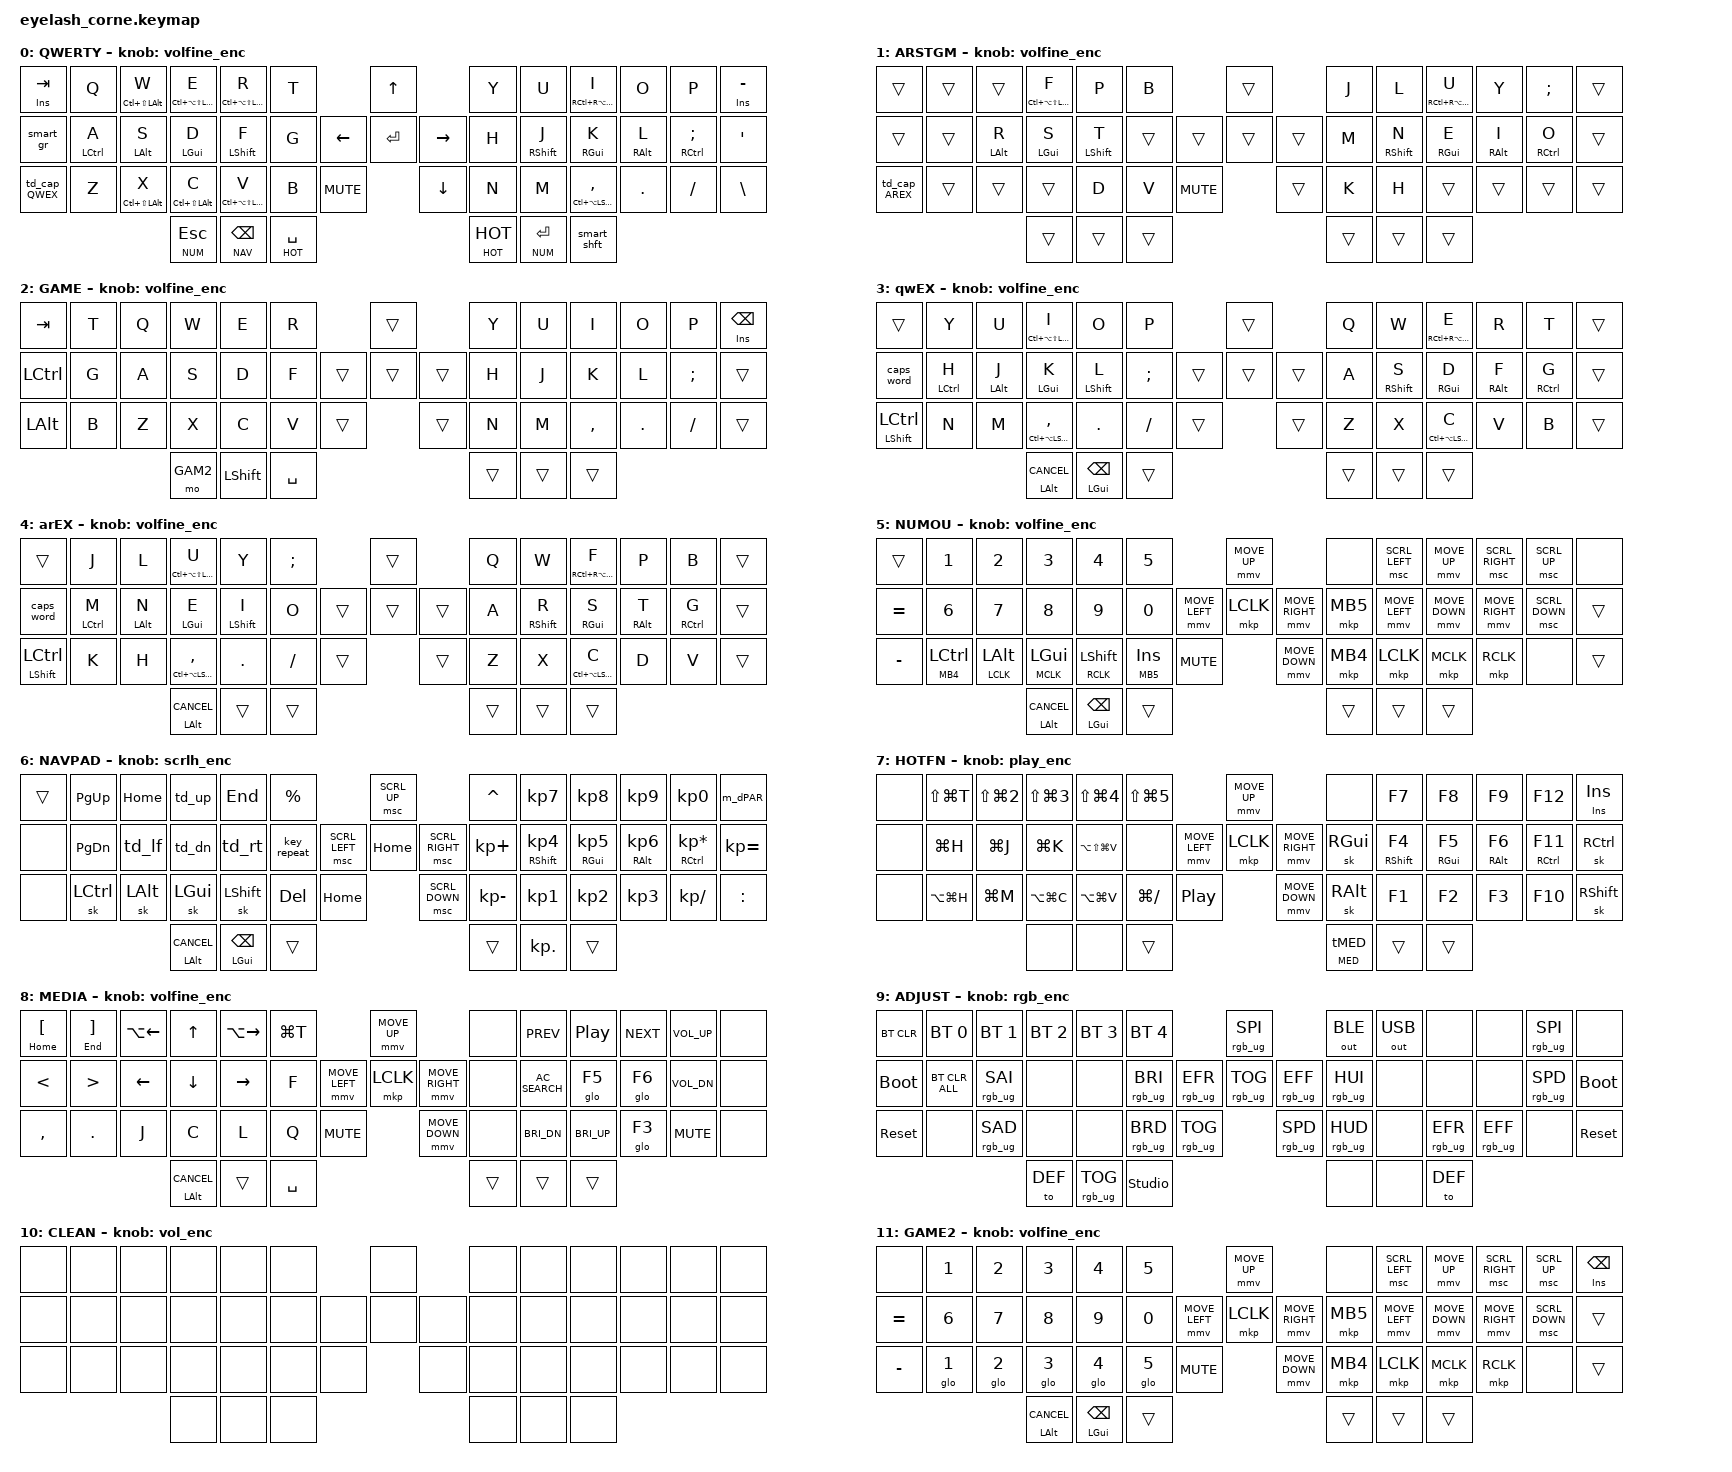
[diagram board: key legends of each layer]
#define ZMK_POINTING_DEFAULT_MOVE_VAL 1200  // 600
#define ZMK_POINTING_DEFAULT_SCRL_VAL 25   // 10

#include <input/processors.dtsi>
#include <zephyr/dt-bindings/input/input-event-codes.h>
#include <behaviors.dtsi>
#include <dt-bindings/zmk/bt.h>
#include <dt-bindings/zmk/keys.h>
#include <dt-bindings/zmk/outputs.h>
#include <dt-bindings/zmk/pointing.h>
#include <dt-bindings/zmk/rgb.h>
#include <behaviors/num_word.dtsi>  // add Urob's Behaviors, Requires auto-layer module.
#include <dt-bindings/zmk/mouse.h>

// Define key positon ────────────────────────────────────────────────────
    /*                KEY POSITIONS
    ╭────────────────────────────┬────────────────────────────────────╮ ╭──────────────────────────────┬──────────────────────────────────────╮
    │  0   1   2   3   4   5     │      6       7   8   9  10  11  12 │ │ LT5 LT4 LT3 LT2 LT1 LT0      │     RJU      RT0 RT1 RT2 RT3 RT4 RT5 │
    │ 13  14  15  16  17  18     │ 19  20  21  22  23  24  25  26  27 │ │ LM5 LM4 LM3 LM2 LM1 LM0      │ RJL RJC RJR  RM0 RM1 RM2 RM3 RM4 RM5 │
    │ 28  29  30  31  32  33  34 │     35      36  37  38  39  40  41 │ │ LB5 LB4 LB3 LB2 LB1 LB0  LEC │     RJD      RB0 RB1 RB2 RB3 RB4 RB5 │
    ╰───────────╮ 42  43  44     │             45  46  47 ╭───────────╯ ╰───────────╮ LH2 LH1 LH0      │              RH0 RH1 RH2 ╭───────────╯
                ╰────────────────┴────────────────────────╯                         ╰──────────────────┴──────────────────────────╯             */

    #define LT0  5  // left-top row
    #define LT1  4
    #define LT2  3
    #define LT3  2
    #define LT4  1
    #define LT5  0

    #define RT0  7  // right-top row
    #define RT1  8
    #define RT2  9
    #define RT3 10
    #define RT4 11
    #define RT5 12

    #define LM0 18  // left-middle row
    #define LM1 17
    #define LM2 16
    #define LM3 15
    #define LM4 14
    #define LM5 13

    #define RM0 22  // right-middle row
    #define RM1 23
    #define RM2 24
    #define RM3 25
    #define RM4 26
    #define RM5 27

    #define LB0 33  // left-bottom row
    #define LB1 32
    #define LB2 31
    #define LB3 30
    #define LB4 29
    #define LB5 28

    #define RB0 36  // right-bottom row
    #define RB1 37
    #define RB2 38
    #define RB3 39
    #define RB4 40
    #define RB5 41

    #define LH0 44  // left thumb keys
    #define LH1 43
    #define LH2 42

    #define RH0 45  // right thumb keys
    #define RH1 46
    #define RH2 47

    #define LEC 34  // left encoder press

    #define RJU  6  // right joystick
    #define RJL 19
    #define RJC 20
    #define RJR 21
    #define RJD 35

    #define KEYS_L LT0 LT1 LT2 LT3 LT4 LM0 LM1 LM2 LM3 LM4 LB0 LB1 LB2 LB3 LB4  // 3x5 left hand
    #define KEYS_R RT0 RT1 RT2 RT3 RT4 RM0 RM1 RM2 RM3 RM4 RB0 RB1 RB2 RB3 RB4  // 3x5 right hand
    #define SIDE_L LT5 LM5 LB5                                                  // 3x6 left side
    #define SIDE_R RT5 RM5 RB5                                                  // 3x6 right side
    #define THUMBS LH2 LH1 LH0 RH0 RH1 RH2                                      // thumbs
    #define STICK_R RJU RJL RJC RJR RJD                                         // right joystick

// Global settings ───────────────────────────────────────────────────────
    // Define layer numbers
    #define DEF 0
    #define COL 1
    #define GAM 2
    #define QWEX 3
    #define AREX 4
    #define NUM 5
    #define NAV 6
    #define HOT 7
    #define MED 8
    #define ADJ 9
    #define CLE 10
    #define GAM2 11

    // Define timing
    #define QUICK_TAP_MS 175

    #define COMBO_TERM_FAST 18
    #define COMBO_TERM_SLOW 30

    #define COMBO_IDLE_FAST 150
    #define COMBO_IDLE_SLOW 50

    // Mouse Tweaking ────────────────────────────────────────────────────
    &mmv_input_listener { input-processors = <&zip_xy_scaler 2 1>; };

    &msc_input_listener { input-processors = <&zip_scroll_scaler 2 1>; };

    &msc {
        acceleration-exponent = <1>;        // default 0, eyelash 1, urob 0
        time-to-max-speed-ms = <100>;       // default 300, eyelash 100, urob 300
        delay-ms = <0>;                     // default 0
    };

    &mmv {
        time-to-max-speed-ms = <500>;       // default 300, eyelash 500, urob 300
        acceleration-exponent = <1>;        // default 1
        trigger-period-ms = <16>;           // default 16
    };

    // Soft Off Setting ──────────────────────────────────────────────────
    &soft_off { hold-time-ms = <2000>; };

    &sl {  // sticky-layer config
        ignore-modifiers;                   // allow chording sticky mods & layers
    };

/ {
    behaviors {
// Smart, Auto-Layer; Tri-State ──────────────────────────────────────────
    // smart layer, smart word
        smart_shft: smart_shift {
            compatible = "zmk,behavior-mod-morph";
            #binding-cells = <0>;
            bindings = <&sk LSHFT>, <&caps_word>;
            mods = <(MOD_LSFT)>;
        };

        aNAV: auto_layer_NAVPAD {
            compatible = "zmk,behavior-auto-layer";
            #binding-cells = <1>;
            continue-list = <UP DOWN LEFT RIGHT PLUS MINUS STAR FSLH SPACE BSPC DEL DOT KP_DOT COMMA EQUAL CARET PRCNT TAB>;
            // ignore-alphas;
            ignore-numbers;
            ignore-modifiers;
        };

        aNUM: auto_layer_NUMBER {
            compatible = "zmk,behavior-auto-layer";
            #binding-cells = <1>;
            continue-list = <PLUS MINUS EQUAL TAB INS>;
            // ignore-alphas;
            ignore-numbers;
            ignore-modifiers;
        };

        tMED: tri_state_MEDIA {
            compatible = "zmk,behavior-tri-state";
            #binding-cells = <0>;
            bindings = <&tog MED>, <&none>, <&tog MED>;
            ignored-key-positions = <SIDE_L KEYS_L KEYS_R LH0 LH1>;
            ignored-layers = <MED>;
        };

        mo_tMED: mo_triMEDIA {                   // hold to momentary layer, tap to tri-state MEDIA
            compatible = "zmk,behavior-hold-tap";
            #binding-cells = <2>;
            bindings = <&mo>, <&tMED>;
            flavor = "balanced";
            tapping-term-ms = <220>;
            // quick-tap-ms = <200>;
        };

        // fn_bs_f3: fn_backspace_f3 {              // hold to FN, tap to backspace, shift to F3
        //     compatible = "zmk,behavior-mod-morph";
        //     #binding-cells = <0>;
        //     bindings = <&mt INS BSPC>, <&kp F3>;
        //     mods = <(MOD_LSFT|MOD_RSFT)>;
        //     // keep-mods = <(MOD_LSFT|MOD_RSFT)>;
        // };

        swap_tab: cmd_tab_swapper {
            compatible = "zmk,behavior-tri-state";
            #binding-cells = <0>;
            bindings = <&kt LGUI>, <&kp TAB>, <&kt LGUI>;
            ignored-key-positions = <LT1 LT2 LT3 LT5 LM5 LM0>;
            ignored-layers = <DEF COL NAV>;
        };

        // swap_gr: cmd_grave_swapper {
        //     compatible = "zmk,behavior-tri-state";
        //     #binding-cells = <0>;
        //     bindings = <&kt LGUI>, <&kp GRAVE>, <&kt LGUI>;
        //     ignored-key-positions = <LT5 LM5 LT2 LT3 LM2 LM3>;
        // };

        smart_gr: smart_grave {
            compatible = "zmk,behavior-mod-morph";
            #binding-cells = <0>;
            bindings = <&mt LC(LA(LS(LGUI))) CAPS>, <&kp GRAVE>;
            mods = <(MOD_LGUI|MOD_LSFT|MOD_RGUI|MOD_RSFT)>;
            keep-mods = <(MOD_LGUI|MOD_LSFT|MOD_RGUI|MOD_RSFT)>;
        };

        aQWEX: auto_layer_qwertyEX {
            compatible = "zmk,behavior-auto-layer";
            #binding-cells = <1>;
            continue-list = <INS TAB SPACE BSPC DOT COMMA FSLH SEMI>;
            ignore-alphas;
            // ignore-numbers;
            ignore-modifiers;
        };

    // SMART-GRAVE for QWERTY setting 1: hold to qwertyEX, tap to sticky-qwertyEX, double-tap to auto-qwertyEX, command/shift morph into grave
        // smart_gr_QWEX: smart_grave_QWEX {
        //     compatible = "zmk,behavior-mod-morph";
        //     #binding-cells = <0>;
        //     bindings = <&td_QWEX>, <&kp GRAVE>;
        //     mods = <(MOD_LGUI|MOD_LSFT|MOD_RGUI|MOD_RSFT)>;
        //     keep-mods = <(MOD_LGUI|MOD_LSFT|MOD_RGUI|MOD_RSFT)>;
        // };

        aAREX: auto_layer_colemakEX {
            compatible = "zmk,behavior-auto-layer";
            #binding-cells = <1>;
            continue-list = <INS TAB SPACE BSPC DOT COMMA FSLH SEMI>;
            ignore-alphas;
            // ignore-numbers;
            ignore-modifiers;
        };

    // SMART-GRAVE for ARSTGM setting 1: hold to arstgmEX, tap to sticky-arstgmEX, double-tap to auto-arstgmEX, command/shift morph into grave
        // smart_gr_AREX: smart_grave_AREX {
        //     compatible = "zmk,behavior-mod-morph";
        //     #binding-cells = <0>;
        //     bindings = <&td_AREX>, <&kp GRAVE>;
        //     mods = <(MOD_LGUI|MOD_LSFT|MOD_RGUI|MOD_RSFT)>;
        //     keep-mods = <(MOD_LGUI|MOD_LSFT|MOD_RGUI|MOD_RSFT)>;
        // };
// Sticky ────────────────────────────────────────────────────────────────
        sls: sticky-layer_slow {                    // new sticky-layer config, delay duration, no quick-release, ignore-modifiers
            compatible = "zmk,behavior-sticky-key";
            #binding-cells = <1>;
            bindings = <&mo>;
            release-after-ms = <1500>;              // default 1000
            /delete-property/ quick-release;        // no quick-release
            ignore-modifiers;                       // allow chording sticky mods & layers
        };

        mosls: layer_sticky-layer_slow {             //  hold to momentary layer, tap to sticky-layer slow
            compatible = "zmk,behavior-hold-tap";
            #binding-cells = <2>;
            bindings = <&mo>, <&sls>;
            flavor = "balanced";
            tapping-term-ms = <220>;
        };

        kpsls: keypress_sticky-layer_slow {             //  hold to key, tap to sticky-layer slow
            compatible = "zmk,behavior-hold-tap";
            #binding-cells = <2>;
            bindings = <&kp>, <&sls>;
            flavor = "balanced";
            tapping-term-ms = <220>;
        };

        kpsk: keypress_sticky-key {
            compatible = "zmk,behavior-hold-tap";
            #binding-cells = <2>;
            bindings = <&kp>, <&sk>;
            flavor = "balanced";
            tapping-term-ms = <220>;
        };

        mkpsk: mouse-key_sticky-key {                   // hold to mouse key, tap to sticky-key, double-tap and holding to repeat key
            compatible = "zmk,behavior-hold-tap";
            #binding-cells = <2>;
            bindings = <&mkp>, <&sk>;
            flavor = "balanced";
            tapping-term-ms = <220>;
            quick-tap-ms = <220>;
        };
// Hold-tap ──────────────────────────────────────────────────────────────
        ltb: layertap_balance {                 // layer-tap config, change flavor to balanced
            compatible = "zmk,behavior-hold-tap";
            #binding-cells = <2>;
            bindings = <&mo>, <&kp>;
            flavor = "balanced";
            tapping-term-ms = <200>;
        };

        ltq: layertap_quick {                   // layer-tap config, hold to layer, double-tap and holding to repeat key
            compatible = "zmk,behavior-hold-tap";
            #binding-cells = <2>;
            bindings = <&mo>, <&kp>;
            flavor = "balanced";
            tapping-term-ms = <220>;
            quick-tap-ms = <220>;
        };
// Timeless Homerow-Mods ─────────────────────────────────────────────────
        hml: homerow_mod_left {
            compatible = "zmk,behavior-hold-tap";
            #binding-cells = <2>;
            bindings = <&kp>, <&kp>;
            flavor = "balanced";
            tapping-term-ms = <280>;
            quick-tap-ms = <QUICK_TAP_MS>;              // repeat on tap-into-hold
            require-prior-idle-ms = <150>;
            hold-trigger-key-positions = <SIDE_R KEYS_R THUMBS LT5 LM5>;
            hold-trigger-on-release;                    // delay positional check until key-release
        };

        hmlq: homerow_mode_left_quick {
            compatible = "zmk,behavior-hold-tap";
            #binding-cells = <2>;
            bindings = <&kp>, <&kp>;
            flavor = "balanced";
            tapping-term-ms = <200>;
            quick-tap-ms = <QUICK_TAP_MS>;
            require-prior-idle-ms = <150>;
            hold-trigger-key-positions = <SIDE_R KEYS_R THUMBS>;
            // hold-trigger-on-release;
        };

        hmls: homerow_mod_left_sticky {
            compatible = "zmk,behavior-hold-tap";
            #binding-cells = <2>;
            bindings = <&kp>, <&sk>;
            flavor = "balanced";
            tapping-term-ms = <280>;
            quick-tap-ms = <QUICK_TAP_MS>;
            require-prior-idle-ms = <150>;
            hold-trigger-key-positions = <SIDE_R KEYS_R THUMBS LT5 LM5>;
            hold-trigger-on-release;
        };

        hmr: homerow_mod_right {
            compatible = "zmk,behavior-hold-tap";
            #binding-cells = <2>;
            bindings = <&kp>, <&kp>;
            flavor = "balanced";
            tapping-term-ms = <280>;
            quick-tap-ms = <QUICK_TAP_MS>;
            require-prior-idle-ms = <150>;
            hold-trigger-key-positions = <SIDE_L KEYS_L THUMBS>;
            hold-trigger-on-release;
        };

        hmrq: homerow_mode_right_quick {
            compatible = "zmk,behavior-hold-tap";
            #binding-cells = <2>;
            bindings = <&kp>, <&kp>;
            flavor = "balanced";
            tapping-term-ms = <200>;
            quick-tap-ms = <QUICK_TAP_MS>;
            require-prior-idle-ms = <150>;
            hold-trigger-key-positions = <SIDE_L KEYS_L THUMBS>;
            // hold-trigger-on-release;
        };

        hml_aNAV: hml_auto-NAV {
            compatible = "zmk,behavior-hold-tap";
            #binding-cells = <2>;
            bindings = <&kp>, <&aNAV>;
            flavor = "balanced";
            tapping-term-ms = <280>;
            quick-tap-ms = <QUICK_TAP_MS>;
            require-prior-idle-ms = <150>;
            hold-trigger-key-positions = <SIDE_R KEYS_R THUMBS>;
            hold-trigger-on-release;
        };

        // hml_aQWEX: hml_auto-QWEX {
        //     compatible = "zmk,behavior-hold-tap";
        //     #binding-cells = <2>;
        //     bindings = <&kp>, <&aQWEX>;
        //     flavor = "balanced";
        //     tapping-term-ms = <280>;
        //     quick-tap-ms = <QUICK_TAP_MS>;
        //     require-prior-idle-ms = <150>;
        //     hold-trigger-key-positions = <SIDE_R KEYS_R THUMBS>;
        //     hold-trigger-on-release;
        // };

        // hml_aAREX: hml_auto-AREX {
        //     compatible = "zmk,behavior-hold-tap";
        //     #binding-cells = <2>;
        //     bindings = <&kp>, <&aAREX>;
        //     flavor = "balanced";
        //     tapping-term-ms = <280>;
        //     quick-tap-ms = <QUICK_TAP_MS>;
        //     require-prior-idle-ms = <150>;
        //     hold-trigger-key-positions = <SIDE_R KEYS_R THUMBS>;
        //     hold-trigger-on-release;
        // };
// Tap Dance ─────────────────────────────────────────────────────────────
    // arrows, arrows with modifier
        td_up: tapdance_up {
            compatible = "zmk,behavior-tap-dance";
            #binding-cells = <0>;
            bindings = <&kp UP>, <&mt LG(UP) LA(UP)>;
            tapping-term-ms = <250>;
        };

        td_lf: tapdance_left {
            compatible = "zmk,behavior-tap-dance";
            #binding-cells = <0>;
            bindings = <&kp LEFT>, <&mt LG(LEFT) LA(LEFT)>;
            tapping-term-ms = <250>;
        };

        td_dn: tapdance_down {
            compatible = "zmk,behavior-tap-dance";
            #binding-cells = <0>;
            bindings = <&kp DOWN>, <&mt LG(DOWN) LA(DOWN)>;
            tapping-term-ms = <250>;
        };

        td_rt: tapdance_right {
            compatible = "zmk,behavior-tap-dance";
            #binding-cells = <0>;
            bindings = <&kp RIGHT>, <&mt LG(RIGHT) LA(RIGHT)>;
            tapping-term-ms = <250>;
        };

    // symbols
        td_PAR: tapdance_PAR {
            compatible = "zmk,behavior-tap-dance";
            #binding-cells = <0>;
            bindings = <&mt RPAR LPAR>, <&m_dPAR>;
        };

        td_BKT: tapdance_BKT {
            compatible = "zmk,behavior-tap-dance";
            #binding-cells = <0>;
            bindings = <&mt RBKT LBKT>, <&m_dBKT>;
        };

        td_BRC: tapdance_BRC {
            compatible = "zmk,behavior-tap-dance";
            #binding-cells = <0>;
            bindings = <&mt RBRC LBRC>, <&m_dBRC>;
        };

        td_LTGT: tapdance_LTGT {
            compatible = "zmk,behavior-tap-dance";
            #binding-cells = <0>;
            bindings = <&mt GT LT>, <&m_LTGT>;
        };

    // layer switch
        td_cap_QWEX: tapdance_caps_QWEX {
            compatible = "zmk,behavior-tap-dance";
            #binding-cells = <0>;
            bindings = <&kpsls LC(LS(LALT)) QWEX>, <&aQWEX QWEX>;
        };

        // td_3QWEX: tapdance_QWEX {
        //     compatible = "zmk,behavior-tap-dance";
        //     #binding-cells = <0>;
        //     bindings = <&mosls QWEX QWEX>, <&aQWEX QWEX>;
        // };

        td_cap_AREX: tapdance_caps_AREX {
            compatible = "zmk,behavior-tap-dance";
            #binding-cells = <0>;
            bindings = <&kpsls LC(LS(LALT)) AREX>, <&aAREX AREX>;
        };

        // td_3AREX: tapdance_AREX {
        //     compatible = "zmk,behavior-tap-dance";
        //     #binding-cells = <0>;
        //     bindings = <&mosls AREX AREX>, <&aAREX AREX>;
        // };
// ──────── END behaviors ────────────────────────────────────────────────
    };

    combos {
        compatible = "zmk,combos";
// HRMs ──────────────────────────────────────────────────────────────────
        cb_hml_AS {
            bindings = <&hml LC(LALT) UNDER>;
            key-positions = <LM3 LM4>;
            timeout-ms = <COMBO_TERM_FAST>;
            require-prior-idle-ms = <COMBO_IDLE_FAST>;
            layers = <DEF COL>;                         //Only in Default & Colemak layer
        };

        cb_hmls_SD {
            bindings = <&hmls LA(LGUI) LGUI>;
            key-positions = <LM2 LM3>;
            timeout-ms = <COMBO_TERM_FAST>;
            require-prior-idle-ms = <COMBO_IDLE_FAST>;
            layers = <DEF COL>;                         //Only in Default & Colemak layer
        };

        cb_hml_DF {
            bindings = <&hml LG(LSHFT) RET>;
            key-positions = <LM1 LM2>;
            timeout-ms = <COMBO_TERM_FAST>;
            require-prior-idle-ms = <COMBO_IDLE_FAST>;
            layers = <DEF COL>;                         //Only in Default & Colemak layer
        };

        cb_hmr_JK {
            bindings = <&hmr RS(RGUI) LBKT>;
            key-positions = <RM1 RM2>;
            timeout-ms = <COMBO_TERM_FAST>;
            require-prior-idle-ms = <COMBO_IDLE_FAST>;
            layers = <DEF COL GAM>;                     //Only in Default, Colemak & Gaming layer
        };

        cb_hmr_KL {
            bindings = <&hmr RA(RGUI) RBKT>;
            key-positions = <RM2 RM3>;
            timeout-ms = <COMBO_TERM_FAST>;
            require-prior-idle-ms = <COMBO_IDLE_FAST>;
            layers = <DEF COL GAM>;                     //Only in Default, Colemak & Gaming layer
        };

        cb_hmr_LSemi {
            bindings = <&hmr RA(RCTRL) EQUAL>;
            key-positions = <RM3 RM4>;
            timeout-ms = <COMBO_TERM_FAST>;
            require-prior-idle-ms = <COMBO_IDLE_FAST>;
            layers = <DEF COL GAM>;                     //Only in Default, Colemak & Gaming layer
        };
// left hand: vertical ───────────────────────────────────────────────────
        cb_QA {
            bindings = <&mt QMARK EXCL>;
            key-positions = <LT4 LM4>;
            timeout-ms = <COMBO_TERM_SLOW>;
            require-prior-idle-ms = <COMBO_IDLE_SLOW>;
            layers = <DEF COL>;                         //Only in Default & Colemak layer
        };

        cb_WS {
            bindings = <&mt AMPS AT>;
            key-positions = <LT3 LM3>;
            timeout-ms = <COMBO_TERM_SLOW>;
            require-prior-idle-ms = <COMBO_IDLE_SLOW>;
            layers = <DEF COL>;                         //Only in Default & Colemak layer
        };

        cb_ED {
            bindings = <&mt STAR HASH>;
            key-positions = <LT2 LM2>;
            timeout-ms = <COMBO_TERM_SLOW>;
            require-prior-idle-ms = <COMBO_IDLE_SLOW>;
            layers = <DEF COL>;                         //Only in Default & Colemak layer
        };

        cb_RF {
            bindings = <&mt LA(Y) DLLR>;
            key-positions = <LT1 LM1>;
            timeout-ms = <COMBO_TERM_SLOW>;
            require-prior-idle-ms = <COMBO_IDLE_SLOW>;
            layers = <DEF COL>;                         //Only in Default & Colemak layer
        };

        cb_TG {
            bindings = <&mt CARET PRCNT>;
            key-positions = <LT0 LM0>;
            timeout-ms = <COMBO_TERM_SLOW>;
            require-prior-idle-ms = <COMBO_IDLE_SLOW>;
            layers = <DEF COL>;                         //Only in Default & Colemak layer
        };

        // cb_SX {
        //     bindings = <&mt SEMICOLON COMMA>;
        //     key-positions = <LM3 LB3>;
        //     timeout-ms = <COMBO_TERM_SLOW>;
        //     require-prior-idle-ms = <COMBO_IDLE_SLOW>;
        //     layers = <DEF COL>;
        // };

        cb_DC {
            bindings = <&mt COLON SEMICOLON>;
            key-positions = <LM2 LB2>;
            timeout-ms = <COMBO_TERM_SLOW>;
            require-prior-idle-ms = <COMBO_IDLE_SLOW>;
            layers = <DEF COL>;                         //Only in Default & Colemak layer
        };

        cb_FV {
            bindings = <&mt SQT DQT>;
            key-positions = <LM1 LB1>;
            timeout-ms = <COMBO_TERM_SLOW>;
            require-prior-idle-ms = <COMBO_IDLE_SLOW>;
            layers = <DEF COL>;                         //Only in Default & Colemak layer
        };

        // cb_GB {
        //     bindings = <&mt DQT SQT>;
        //     key-positions = <LM0 LB0>;
        //     timeout-ms = <COMBO_TERM_SLOW>;
        //     require-prior-idle-ms = <COMBO_IDLE_SLOW>;
        //     layers = <DEF COL>;                         //Only in Default & Colemak layer
        // };
// left hand: horizontal ─────────────────────────────────────────────────
        cb_QW {
            bindings = <&kp TAB>;
            key-positions = <LT3 LT4>;
            // timeout-ms = <COMBO_TERM_FAST>;
            // require-prior-idle-ms = <COMBO_IDLE_FAST>;
            layers = <DEF COL>;                         //Only in Default & Colemak layer
        };

        cb_WE {
            bindings = <&mt TILDE GRAVE>;
            key-positions = <LT2 LT3>;
            // timeout-ms = <COMBO_TERM_FAST>;
            // require-prior-idle-ms = <COMBO_IDLE_FAST>;
            layers = <DEF COL>;                         //Only in Default & Colemak layer
        };

        cb_ER {
            bindings = <&swap_tab>;
            key-positions = <LT1 LT2>;
            // timeout-ms = <COMBO_TERM_FAST>;
            // require-prior-idle-ms = <COMBO_IDLE_FAST>;
            layers = <DEF COL>;                         //Only in Default & Colemak layer
        };

        cb_ZX {
            bindings = <&kp CAPS>;
            key-positions = <LB3 LB4>;
            layers = <DEF COL GAM>;                     //Only in Default, Colemak & Game layer
        };

        cb_XC {
            bindings = <&kp LG(C)>;
            key-positions = <LB2 LB3>;
            layers = <DEF COL>;                         //Only in Default & Colemak layer
        };

        cb_CV {
            bindings = <&kp LG(V)>;
            key-positions = <LB1 LB2>;
            layers = <DEF COL>;                         //Only in Default & Colemak layer
        };

        // cb_XV {
        //     bindings = <&kp UNDER>;
        //     key-positions = <LB1 LB3>;
        //     layers = <DEF COL>;                      //Only in Default & Colemak layer
        // };
// left hand: diagonal ───────────────────────────────────────────────────
        cb_ES {         // aka command+[, backward
            bindings = <&kp LG(LBKT)>;
            key-positions = <LT2 LM3>;
            timeout-ms = <COMBO_TERM_SLOW>;
            require-prior-idle-ms = <COMBO_IDLE_SLOW>;
            layers = <DEF COL>;                         //Only in Default & Colemak layer
        };

        cb_EF {         // aka command+], forward
            bindings = <&kp LG(RBKT)>;
            key-positions = <LT2 LM1>;
            timeout-ms = <COMBO_TERM_SLOW>;
            require-prior-idle-ms = <COMBO_IDLE_SLOW>;
            layers = <DEF COL>;                         //Only in Default & Colemak layer
        };

        cb_DX {
            bindings = <&mt UNDER FSLH>;
            key-positions = <LM2 LB3>;
            timeout-ms = <COMBO_TERM_SLOW>;
            require-prior-idle-ms = <COMBO_IDLE_SLOW>;
            layers = <DEF COL>;                         //Only in Default & Colemak layer
        };

        cb_DV {
            bindings = <&mt PIPE BSLH>;
            key-positions = <LM2 LB1>;
            timeout-ms = <COMBO_TERM_SLOW>;
            require-prior-idle-ms = <COMBO_IDLE_SLOW>;
            layers = <DEF COL>;                         //Only in Default & Colemak layer
        };
// right hand: vertical ──────────────────────────────────────────────────
        cb_YH {
            bindings = <&kp CARET>;
            key-positions = <RT0 RM0>;
            timeout-ms = <COMBO_TERM_SLOW>;
            require-prior-idle-ms = <COMBO_IDLE_SLOW>;
            layers = <DEF COL GAM>;                     //Only in Default & Colemak & Gaming layer
        };

        cb_UJ {
            bindings = <&kp PLUS>;
            key-positions = <RT1 RM1>;
            timeout-ms = <COMBO_TERM_SLOW>;
            require-prior-idle-ms = <COMBO_IDLE_SLOW>;
            layers = <DEF COL GAM>;                     //Only in Default & Colemak & Gaming layer
        };

        cb_IK {
            bindings = <&kp STAR>;
            key-positions = <RT2 RM2>;
            timeout-ms = <COMBO_TERM_SLOW>;
            require-prior-idle-ms = <COMBO_IDLE_SLOW>;
            layers = <DEF COL GAM>;                     //Only in Default & Colemak & Gaming layer
        };

        cb_OL {
            bindings = <&kp AMPS>;
            key-positions = <RT3 RM3>;
            timeout-ms = <COMBO_TERM_SLOW>;
            require-prior-idle-ms = <COMBO_IDLE_SLOW>;
            layers = <DEF COL GAM>;                     //Only in Default & Colemak & Gaming layer
        };

        cb_JM {
            bindings = <&kp MINUS>;
            key-positions = <RM1 RB1>;
            timeout-ms = <COMBO_TERM_SLOW>;
            require-prior-idle-ms = <COMBO_IDLE_SLOW>;
            layers = <DEF COL GAM>;                     //Only in Default & Colemak & Gaming layer
        };

        cb_KLt {
            bindings = <&kp FSLH>;
            key-positions = <RM2 RB2>;
            timeout-ms = <COMBO_TERM_SLOW>;
            require-prior-idle-ms = <COMBO_IDLE_SLOW>;
            layers = <DEF COL GAM>;                     //Only in Default & Colemak & Gaming layer
        };

        cb_LGt {
            bindings = <&kp BSLH>;
            key-positions = <RM3 RB3>;
            timeout-ms = <COMBO_TERM_SLOW>;
            require-prior-idle-ms = <COMBO_IDLE_SLOW>;
            layers = <DEF COL GAM>;                     //Only in Default & Colemak & Gaming layer
        };
// right hand: horizontal ────────────────────────────────────────────────
        cb_UI {
            bindings = <&kp LBRC>;
            key-positions = <RT1 RT2>;
            timeout-ms = <COMBO_TERM_FAST>;
            require-prior-idle-ms = <COMBO_IDLE_FAST>;
        };

        cb_IO {
            bindings = <&kp RBRC>;
            key-positions = <RT2 RT3>;
            timeout-ms = <COMBO_TERM_FAST>;
            require-prior-idle-ms = <COMBO_IDLE_FAST>;
        };

        // cb_NM {
        //     bindings = <&kp UNDER>;
        //     key-positions = <RB0 RB1>;
        //     timeout-ms = <COMBO_TERM_FAST>;
        //     require-prior-idle-ms = <COMBO_IDLE_FAST>;
        // };

        cb_MLt {
            bindings = <&kp UNDER>;
            key-positions = <RB1 RB2>;
            timeout-ms = <COMBO_TERM_FAST>;
            require-prior-idle-ms = <COMBO_IDLE_FAST>;
            layers = <DEF COL>;                         //Only in Default & Colemak layer
        };

        cb_LtGt {
            bindings = <&kp PIPE>;
            key-positions = <RB2 RB3>;
            timeout-ms = <COMBO_TERM_FAST>;
            require-prior-idle-ms = <COMBO_IDLE_FAST>;
            layers = <DEF COL>;                         //Only in Default & Colemak layer
        };
// functional ────────────────────────────────────────────────────────────
        softoff {
            bindings = <&soft_off>;
            key-positions = <LT4 LM3 LB2>;
        };

        cb_RT {
            bindings = <&td_PAR>;
            key-positions = <LT0 LT1>;
            // timeout-ms = <COMBO_TERM_FAST>;
            // require-prior-idle-ms = <COMBO_IDLE_FAST>;
            layers = <DEF COL>;                         //Only in Default & Colemak layer
        };

        cb_FG {
            bindings = <&td_BKT>;
            key-positions = <LM0 LM1>;
            // timeout-ms = <COMBO_TERM_FAST>;
            // require-prior-idle-ms = <COMBO_IDLE_FAST>;
            layers = <DEF COL>;                         //Only in Default & Colemak layer
        };

        cb_VB {
            bindings = <&td_LTGT>;
            key-positions = <LB0 LB1>;
            // timeout-ms = <COMBO_TERM_FAST>;
            // require-prior-idle-ms = <COMBO_IDLE_FAST>;
            layers = <DEF COL>;                         //Only in Default & Colemak layer
        };

        cb_FB {
            bindings = <&td_BRC>;
            key-positions = <LM1 LB0>;
            // timeout-ms = <COMBO_TERM_SLOW>;
            // require-prior-idle-ms = <COMBO_IDLE_SLOW>;
            layers = <DEF COL>;                         //Only in Default & Colemak layer
        };
// left hand: only in Gaming layer ───────────────────────────────────────
        cb_TabQ_G {
            bindings = <&kp ESC>;
            key-positions = <LT4 LT5>;
            // timeout-ms = <COMBO_TERM_FAST>;
            // require-prior-idle-ms = <COMBO_IDLE_FAST>;
            layers = <GAM>;                             //only in Gaming layer
        };

        cb_QW_G {
            bindings = <&kp GRAVE>;
            key-positions = <LT3 LT4>;
            // timeout-ms = <COMBO_TERM_FAST>;
            // require-prior-idle-ms = <COMBO_IDLE_FAST>;
            layers = <GAM>;                             //only in Gaming layer
        };

        cb_CV_G {
            bindings = <&aQWEX QWEX>;
            key-positions = <LB1 LB2>;
            layers = <GAM>;                             //only in Gaming layer
        };
// Layer switch ──────────────────────────────────────────────────────────
        cb_WA {
            bindings = <&tog COL>;
            key-positions = <LT3 LM4>;
            layers = <DEF COL>;                         //Only in Default & Colemak layer
        };

        cb_RG {
            bindings = <&tog GAM>;
            key-positions = <LT1 LM0>;
            layers = <DEF COL GAM>;                     //Only in Default & Colemak & Gaming layer
        };

        cb_SZ {
            bindings = <&tog ADJ>;
            key-positions = <LM3 LB4>;
            layers = <DEF COL ADJ>;                     //Only in Default & Colemak & Adjust layer
        };

        cb_LFslh {
            bindings = <&tog ADJ>;
            key-positions = <RM3 RB4>;
            layers = <DEF COL ADJ>;                     //Only in Default & Colemak & Adjust layer
        };

        cb_UIO {
            bindings = <&tog CLE>;
            key-positions = <RT1 RT2 RT3>;
            timeout-ms = <COMBO_TERM_FAST>;
            require-prior-idle-ms = <COMBO_IDLE_FAST>;
            layers = <DEF COL CLE>;                     //Only in Default & Colemak & Clean layer
        };
    
        cb_WR {             // activate Media tri-state
            bindings = <&tMED>;
            key-positions = <LT1 LT3>;
            layers = <DEF COL>;                         //Only in Default & Colemak layer
        };

        cb_XV {             // activate NumMouse auto-layer
            bindings = <&aNUM NUM>;
            key-positions = <LB1 LB3>;
            layers = <DEF COL>;                         //Only in Default & Colemak layer
        };

        // cb_LH0LH1 {         // activate NaviPad auto-layer
        //     bindings = <&aNAV NAV>;
        //     key-positions = <LH0 LH1>;
        //     layers = <DEF COL>;                         //Only in Default & Colemak layer
        // };

        cb_hml_SF {         // activate NaviPad auto-layer
            bindings = <&hml_aNAV LA(LSHFT) NAV>;
            key-positions = <LM1 LM3>;
            layers = <DEF COL>;                        //Only in Default & Colemak layer
        };

        // cb_hml_qSF {
        //     bindings = <&hml_aQWEX LA(LSHFT) QWEX>;
        //     key-positions = <LM1 LM3>;
        //     layers = <DEF QWEX>;                        //Only in Default & defaultEX layer
        // };

        // cb_hml_cSF {
        //     bindings = <&hml_aAREX LA(LSHFT) AREX>;
        //     key-positions = <LM1 LM3>;
        //     layers = <COL AREX>;                        //Only in Colemak & colemakEX layer
        // };
// ──────── END Combos ───────────────────────────────────────────────────
    };

    macros {
//Macros ─────────────────────────────────────────────────
        m_dPAR: m_double_PAR {
            compatible = "zmk,behavior-macro";
            #binding-cells = <0>;
            bindings = <&kp LPAR &kp RPAR &kp LEFT>;
        };

        m_dBKT: m_double_BKT {
            compatible = "zmk,behavior-macro";
            #binding-cells = <0>;
            bindings = <&kp LBKT &kp RBKT &kp LEFT>;
        };

        m_dBRC: m_double_BRC {
            compatible = "zmk,behavior-macro";
            #binding-cells = <0>;
            bindings = <&kp LBRC &kp RBRC &kp LEFT>;
        };

        m_LTGT: m_LT_GT {
            compatible = "zmk,behavior-macro";
            #binding-cells = <0>;
            bindings = <&kp LT &kp GT &kp LEFT>;
        };

        glo: glo {
            compatible = "zmk,behavior-macro-one-param";
            label = "globe pseudo mod func";
            #binding-cells = <1>;
            bindings = <&macro_press &kp INS>,
            <&macro_param_1to1>,
            <&macro_tap &kp MACRO_PLACEHOLDER>,
            <&macro_release &kp INS>;
    };

        // m_4: macro_1 {
        //     compatible = "zmk,behavior-macro";
        //     #binding-cells = <0>;
        //     bindings = <&kp Q>,
        //                <&macro_wait_time 500>,
        //                <&kp N4>;
        // };

        // m_2: macro_2 {
        //     compatible = "zmk,behavior-macro";
        //     #binding-cells = <0>;
        //     bindings = <&kp Q &kp N4>;
        // };
// ──────── END Macros ───────────────────────────────────────────────────
    };

// Encoder ───────────────────────────────────────────────────────────────
    rgb_enc: rgb_encoder {
        compatible = "zmk,behavior-sensor-rotate";
        #sensor-binding-cells = <0>;
        bindings = <&rgb_ug RGB_BRI>, <&rgb_ug RGB_BRD>;
    };

    scrl_enc: scroll_encoder {
        compatible = "zmk,behavior-sensor-rotate";
        #sensor-binding-cells = <0>;
        bindings = <&msc SCRL_DOWN>, <&msc SCRL_UP>;
        tap-ms = <100>;
    };

    scrlh_enc: scrollhorizon_encoder {
        compatible = "zmk,behavior-sensor-rotate";
        #sensor-binding-cells = <0>;
        bindings = <&msc SCRL_RIGHT>, <&msc SCRL_LEFT>;
        tap-ms = <100>;
    };

    vol_enc: volume_encoder {
        compatible = "zmk,behavior-sensor-rotate";
        #sensor-binding-cells = <0>;
        bindings = <&kp C_VOL_UP>, <&kp C_VOL_DN>;
    };

    volfine_enc: volume_fine_encoder {
        compatible = "zmk,behavior-sensor-rotate";
        #sensor-binding-cells = <0>;
        bindings = <&kp LA(LS(C_VOL_UP))>, <&kp LA(LS(C_VOL_DN))>;
    };

    play_enc: player_encoder {
        compatible = "zmk,behavior-sensor-rotate";
        #sensor-binding-cells = <0>;
        bindings = <&kp C_NEXT>, <&kp C_PREV>;
        tap-ms = <100>;
    };
// ──────── END Encoders ─────────────────────────────────────────────────

    keymap {
        compatible = "zmk,keymap";

// Layer 0 default (DEF) ─────────────────────────────────────────────────
        default_layer {
            display-name = "QWERTY";
            bindings = <
    &mt INS TAB   &kp Q         &hml LC(LS(LALT)) W  &hml LC(LA(LS(LGUI))) E  &hml LC(LA(LS(LGUI))) R  &kp T                                   &kp UP               &kp Y           &kp U          &hmr RC(RA(RS(RGUI))) I   &kp O        &kp P            &mt INS MINUS
    &smart_gr     &hml LCTRL A  &hml LALT S          &hml LGUI D              &hmlq LSHFT F            &kp G                         &kp LEFT  &kp RET   &kp RIGHT  &kp H           &hmrq RSHFT J  &hmr RGUI K               &hmr RALT L  &hmr RCTRL SEMI  &kp SQT
    &td_cap_QWEX  &kp Z         &hml LC(LS(LALT)) X  &hml LC(LS(LALT)) C      &hml LC(LA(LS(LGUI))) V  &kp B           &kp C_MUTE              &kp DOWN             &kp N           &kp M          &hmr LC(LA(LSHFT)) COMMA  &kp DOT      &kp FSLH         &kp BSLH
                                                     &ltb NUM ESC             &ltb NAV BSPC            &ltq HOT SPACE                                               &mosls HOT HOT  &ltb NUM RET   &smart_shft
            >;
            sensor-bindings = <&volfine_enc>;
        };

// Layer 1 colemakDH (COL) ───────────────────────────────────────────────
        colemakDH_layer {
            display-name = "ARSTGM";
            bindings = <
    &trans        &trans  &trans       &hml LC(LA(LS(LGUI))) F  &kp P          &kp B                         &trans          &kp J   &kp L          &hmr RC(RA(RS(RGUI))) U  &kp Y        &kp SEMI      &trans
    &trans        &trans  &hml LALT R  &hml LGUI S              &hmlq LSHFT T  &trans                &trans  &trans  &trans  &kp M   &hmrq RSHFT N  &hmr RGUI E              &hmr RALT I  &hmr RCTRL O  &trans
    &td_cap_AREX  &trans  &trans       &trans                   &kp D          &kp V   &kp C_MUTE            &trans          &kp K   &kp H          &trans                   &trans       &trans        &trans
                                       &trans                   &trans         &trans                                        &trans  &trans         &trans
            >;
            sensor-bindings = <&volfine_enc>;
        };

// Layer 2 gaming (GAM) ──────────────────────────────────────────────────
        game_layer {
            display-name = "GAME";
            bindings = <
    &kp TAB    &kp T  &kp Q  &kp W     &kp E      &kp R                        &trans          &kp Y   &kp U   &kp I      &kp O    &kp P     &mt INS BSPC
    &kp LCTRL  &kp G  &kp A  &kp S     &kp D      &kp F                &trans  &trans  &trans  &kp H   &kp J   &kp K      &kp L    &kp SEMI  &trans
    &kp LALT   &kp B  &kp Z  &kp X     &kp C      &kp V      &trans            &trans          &kp N   &kp M   &kp COMMA  &kp DOT  &kp FSLH  &trans
                             &mo GAM2  &kp LSHFT  &kp SPACE                                    &trans  &trans  &trans
            >;
            sensor-bindings = <&volfine_enc>;
        };

// Layer 3 qwertyEX (QWEX) ───────────────────────────────────────────────
        qwertyEX_layer {
            display-name = "qwEX";
            bindings = <
    &trans             &kp Y         &kp U        &hml LC(LA(LS(LGUI))) I   &kp O          &kp P                        &trans          &kp Q   &kp W          &hmr RC(RA(RS(RGUI))) E  &kp R        &kp T         &trans
    &caps_word         &hml LCTRL H  &hml LALT J  &hml LGUI K               &hmlq LSHFT L  &kp SEMI             &trans  &trans  &trans  &kp A   &hmrq RSHFT S  &hmr RGUI D              &hmr RALT F  &hmr RCTRL G  &trans
    &kpsk LSHFT LCTRL  &kp N         &kp M        &hml LC(LA(LSHFT)) COMMA  &kp DOT        &kp FSLH   &trans            &trans          &kp Z   &kp X          &hmr LC(LA(LSHFT)) C     &kp V        &kp B         &trans
                                                  &mt LALT K_CANCEL         &mt LGUI BSPC  &trans                                       &trans  &trans         &trans
            >;
            sensor-bindings = <&volfine_enc>;
        };

// Layer 4 arstgmEX (AREX) ───────────────────────────────────────────────
        arstgmEX_layer {
            display-name = "arEX";
            bindings = <
    &trans             &kp J         &kp L        &hml LC(LA(LS(LGUI))) U   &kp Y          &kp SEMI                     &trans          &kp Q   &kp W          &hmr RC(RA(RS(RGUI))) F  &kp P        &kp B         &trans
    &caps_word         &hml LCTRL M  &hml LALT N  &hml LGUI E               &hmlq LSHFT I  &kp O                &trans  &trans  &trans  &kp A   &hmrq RSHFT R  &hmr RGUI S              &hmr RALT T  &hmr RCTRL G  &trans
    &kpsk LSHFT LCTRL  &kp K         &kp H        &hml LC(LA(LSHFT)) COMMA  &kp DOT        &kp FSLH   &trans            &trans          &kp Z   &kp X          &hmr LC(LA(LSHFT)) C     &kp D        &kp V         &trans
                                                  &mt LALT K_CANCEL         &trans         &trans                                       &trans  &trans         &trans
            >;
            sensor-bindings = <&volfine_enc>;
        };

// Layer 5 numbermouse (NUM) ─────────────────────────────────────────────
        numbermouse_layer {
            display-name = "NUMOU";
            bindings = <
    &trans     &kp N1            &kp N2            &kp N3             &kp N4             &kp N5                                        &mmv MOVE_UP                     &none     &msc SCRL_LEFT   &mmv MOVE_UP    &msc SCRL_RIGHT  &msc SCRL_UP    &none
    &kp EQUAL  &kp N6            &kp N7            &kp N8             &kp N9             &kp N0                        &mmv MOVE_LEFT  &mkp LCLK       &mmv MOVE_RIGHT  &mkp MB5  &mmv MOVE_LEFT   &mmv MOVE_DOWN  &mmv MOVE_RIGHT  &msc SCRL_DOWN  &trans
    &kp MINUS  &mkpsk MB4 LCTRL  &mkpsk LCLK LALT  &mkpsk MCLK LGUI   &mkpsk RCLK LSHFT  &mkpsk MB5 INS  &kp C_MUTE                    &mmv MOVE_DOWN                   &mkp MB4  &mkp LCLK        &mkp MCLK       &mkp RCLK        &none           &trans
                                                   &mt LALT K_CANCEL  &mt LGUI BSPC      &trans                                                                      &trans    &trans           &trans
            >;
            sensor-bindings = <&volfine_enc>;
        };

// Layer 6 navipad (NAV) ─────────────────────────────────────────────────
        navipad_layer {
            display-name = "NAVPAD";
            bindings = <
    &trans  &kp PG_UP  &kp HOME  &td_up             &kp END        &kp PRCNT                                &msc SCRL_UP                     &kp CARET     &kp KP_N7          &kp KP_N8        &kp KP_N9        &kp KP_N0               &m_dPAR
    &none   &kp PG_DN  &td_lf    &td_dn             &td_rt         &key_repeat              &msc SCRL_LEFT  &kp HOME        &msc SCRL_RIGHT  &kp KP_PLUS   &hmrq RSHFT KP_N4  &hmr RGUI KP_N5  &hmr RALT KP_N6  &hmr RCTRL KP_MULTIPLY  &kp KP_EQUAL
    &none   &sk LCTRL  &sk LALT  &sk LGUI           &sk LSHFT      &kp DEL      &kp HOME                    &msc SCRL_DOWN                   &kp KP_MINUS  &kp KP_N1          &kp KP_N2        &kp KP_N3        &kp KP_SLASH            &kp COLON
                             &mt LALT K_CANCEL  &mt LGUI BSPC  &trans                                                                    &trans        &kp KP_DOT         &trans
            >;
            sensor-bindings = <&scrlh_enc>;
        };

// Layer 7 hotkeyfn ──────────────────────────────────────────────────────
        hotkeyfn_layer {
            display-name = "HOTFN";
            bindings = <
    &none  &kp LS(LG(T))  &kp LS(LG(N2))  &kp LS(LG(N3))  &kp LS(LG(N4))     &kp LS(LG(N5))                                &mmv MOVE_UP                     &none           &kp F7          &kp F8        &kp F9        &kp F12         &kpsk INS INS
    &none  &kp LG(H)      &kp LG(J)       &kp LG(K)       &kp LA(LS(LG(V)))  &none                         &mmv MOVE_LEFT  &mkp LCLK       &mmv MOVE_RIGHT  &sk RGUI        &hmrq RSHFT F4  &hmr RGUI F5  &hmr RALT F6  &hmr RCTRL F11  &sk RCTRL
    &none  &kp LA(LG(H))  &kp LG(M)       &kp LA(LG(C))   &kp LA(LG(V))      &kp LG(FSLH)    &kp C_PP                      &mmv MOVE_DOWN                   &sk RALT        &kp F1          &kp F2        &kp F3        &kp F10         &sk RSHFT
                                          &none           &none              &trans                                                                         &mo_tMED MED 0  &trans          &trans
            >;
            sensor-bindings = <&play_enc>;
        };

// Layer 8 media ─────────────────────────────────────────────────────────
        media_layer {
            display-name = "MEDIA";
            bindings = <
    &mt HOME LBKT  &mt END RBKT  &kp LA(LEFT)  &kp UP             &kp LA(RIGHT)  &kp LG(T)                                 &mmv MOVE_UP                     &none   &kp C_PREV       &kp C_PP      &kp C_NEXT  &kp C_VOL_UP  &none
    &kp LT         &kp GT        &kp LEFT      &kp DOWN           &kp RIGHT      &kp F                     &mmv MOVE_LEFT  &mkp LCLK       &mmv MOVE_RIGHT  &none   &kp C_AC_SEARCH  &glo F5       &glo F6     &kp C_VOL_DN  &none
    &kp COMMA      &kp DOT       &kp J         &kp C              &kp L          &kp Q      &kp C_MUTE                     &mmv MOVE_DOWN                   &none   &kp C_BRI_DN     &kp C_BRI_UP  &glo F3     &kp C_MUTE    &none
                                               &mt LALT K_CANCEL  &trans         &kp SPACE                                                                  &trans  &trans           &trans
            >;
            sensor-bindings = <&volfine_enc>;
        };

// Layer 9 adjust ────────────────────────────────────────────────────────
        adjust_layer {
            display-name = "ADJUST";
            bindings = <
    &bt BT_CLR   &bt BT_SEL 0    &bt BT_SEL 1     &bt BT_SEL 2  &bt BT_SEL 3     &bt BT_SEL 4                                       &rgb_ug RGB_SPI                   &out OUT_BLE     &out OUT_USB  &none            &none              &rgb_ug RGB_SPI  &none
    &bootloader  &bt BT_CLR_ALL  &rgb_ug RGB_SAI  &none         &none            &rgb_ug RGB_BRI                   &rgb_ug RGB_EFR  &rgb_ug RGB_TOG  &rgb_ug RGB_EFF  &rgb_ug RGB_HUI  &none         &none            &none              &rgb_ug RGB_SPD  &bootloader
    &sys_reset   &none           &rgb_ug RGB_SAD  &none         &none            &rgb_ug RGB_BRD  &rgb_ug RGB_TOG                   &rgb_ug RGB_SPD                   &rgb_ug RGB_HUD  &none         &rgb_ug RGB_EFR  &rgb_ug RGB_EFF    &none            &sys_reset
                                                  &to DEF       &rgb_ug RGB_TOG  &studio_unlock                                                                       &none            &none         &to DEF
            >;
            sensor-bindings = <&rgb_enc>;
        };

// Layer 10 clean ────────────────────────────────────────────────────────
        clean_layer {
            display-name = "CLEAN";
            bindings = <
    &none  &none  &none  &none  &none  &none                  &none         &none  &none  &none  &none  &none  &none
    &none  &none  &none  &none  &none  &none           &none  &none  &none  &none  &none  &none  &none  &none  &none
    &none  &none  &none  &none  &none  &none  &none           &none         &none  &none  &none  &none  &none  &none
                         &none  &none  &none                                &none  &none  &none
            >;
            sensor-bindings = <&vol_enc>;
        };

// Layer 11 game2 ────────────────────────────────────────────────────────
        game2_layer {
            display-name = "GAME2";
            bindings = <
    &none      &kp N1   &kp N2   &kp N3             &kp N4         &kp N5                                 &mmv MOVE_UP                     &none     &msc SCRL_LEFT   &mmv MOVE_UP    &msc SCRL_RIGHT  &msc SCRL_UP    &mt INS BSPC
    &kp EQUAL  &kp N6   &kp N7   &kp N8             &kp N9         &kp N0                 &mmv MOVE_LEFT  &mkp LCLK       &mmv MOVE_RIGHT  &mkp MB5  &mmv MOVE_LEFT   &mmv MOVE_DOWN  &mmv MOVE_RIGHT  &msc SCRL_DOWN  &trans
    &kp MINUS  &glo N1  &glo N2  &glo N3            &glo N4        &glo N5  &kp C_MUTE                    &mmv MOVE_DOWN                   &mkp MB4  &mkp LCLK        &mkp MCLK       &mkp RCLK        &none           &trans
                                 &mt LALT K_CANCEL  &mt LGUI BSPC  &trans                                                                  &trans    &trans           &trans
            >;
            sensor-bindings = <&volfine_enc>;
        };
    };
};
